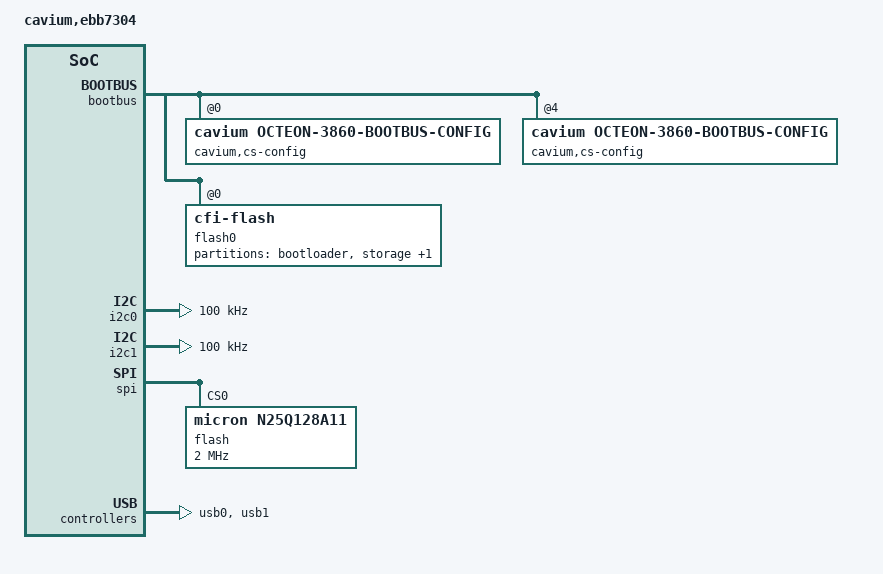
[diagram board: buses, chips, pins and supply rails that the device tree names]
// SPDX-License-Identifier: GPL-2.0+
/*
 * Marvell / Cavium Inc. EVB CN7300
 */

/dts-v1/;

#include "mrvl,cn73xx.dtsi"

/ {
	model = "cavium,ebb7304";
	compatible = "cavium,ebb7304";

	aliases {
		serial0 = &uart0;
		spi0 = &spi;
	};

	chosen {
		stdout-path = &uart0;
	};
};

&bootbus {
	/*
	 * bootbus CS0 for CFI flash is remapped (0x1fc0.0000 -> 1f40.0000)
	 * as the initial size is too small for the 8MiB flash device
	 */
	ranges = <0 0  0       0x1f400000  0xc00000>,
		 <1 0  0x10000 0x10000000  0>,
		 <2 0  0x10000 0x20000000  0>,
		 <3 0  0x10000 0x30000000  0>,
		 <4 0  0       0x1d020000  0x10000>,
		 <5 0  0x10000 0x50000000  0>,
		 <6 0  0x10000 0x60000000  0>,
		 <7 0  0x10000 0x70000000  0>;

	cavium,cs-config@0 {
		compatible = "cavium,octeon-3860-bootbus-config";
		cavium,cs-index = <0>;
		cavium,t-adr  = <10>;
		cavium,t-ce   = <50>;
		cavium,t-oe   = <50>;
		cavium,t-we   = <35>;
		cavium,t-rd-hld = <25>;
		cavium,t-wr-hld = <35>;
		cavium,t-pause  = <0>;
		cavium,t-wait   = <50>;
		cavium,t-page   = <30>;
		cavium,t-rd-dly = <0>;
		cavium,page-mode = <1>;
		cavium,pages     = <8>;
		cavium,bus-width = <8>;
	};

	cavium,cs-config@4 {
		compatible = "cavium,octeon-3860-bootbus-config";
		cavium,cs-index = <4>;
		cavium,t-adr  = <10>;
		cavium,t-ce   = <10>;
		cavium,t-oe   = <160>;
		cavium,t-we   = <100>;
		cavium,t-rd-hld = <10>;
		cavium,t-wr-hld = <0>;
		cavium,t-pause  = <50>;
		cavium,t-wait   = <50>;
		cavium,t-page   = <10>;
		cavium,t-rd-dly = <10>;
		cavium,pages     = <0>;
		cavium,bus-width = <8>;
	};

	flash0: nor@0,0 {
		compatible = "cfi-flash";
		reg = <0 0 0x800000>;
		#address-cells = <1>;
		#size-cells = <1>;
		partition@0 {
			label = "bootloader";
			reg = <0 0x340000>;
			read-only;
		};
		partition@300000 {
			label = "storage";
			reg = <0x340000 0x4be000>;
		};
		partition@7fe000 {
			label = "environment";
			reg = <0x7fe000 0x2000>;
			read-only;
		};
	};
};

&uart0 {
	clock-frequency = <1200000000>;
};

&i2c0 {
	u-boot,dm-pre-reloc;	/* Needed early for DDR SPD EEPROM */
	clock-frequency = <100000>;
};

&i2c1 {
	u-boot,dm-pre-reloc;	/* Needed early for DDR SPD EEPROM */
	clock-frequency = <100000>;
};

&spi {
	flash@0 {
		compatible = "micron,n25q128a11", "jedec,spi-nor";
		spi-max-frequency = <2000000>;
		reg = <0>;
	};
};

/* USB 0 */
&usb0 {
	status = "okay";
	/*
	 * Power is specified by three parts:
	 * 1) GPIO handle (must be &gpio)
	 * 2) GPIO pin number
	 * 3) Active high (0) or active low (1)
	 */
	power = <&gpio 20 0>;
};

/* USB 1 */
&usb1 {
	status = "okay";
	/*
	 * Power is specified by three parts:
	 * 1) GPIO handle (must be &gpio)
	 * 2) GPIO pin number
	 * 3) Active high (0) or active low (1)
	 */
	power = <&gpio 21 0>;
};
